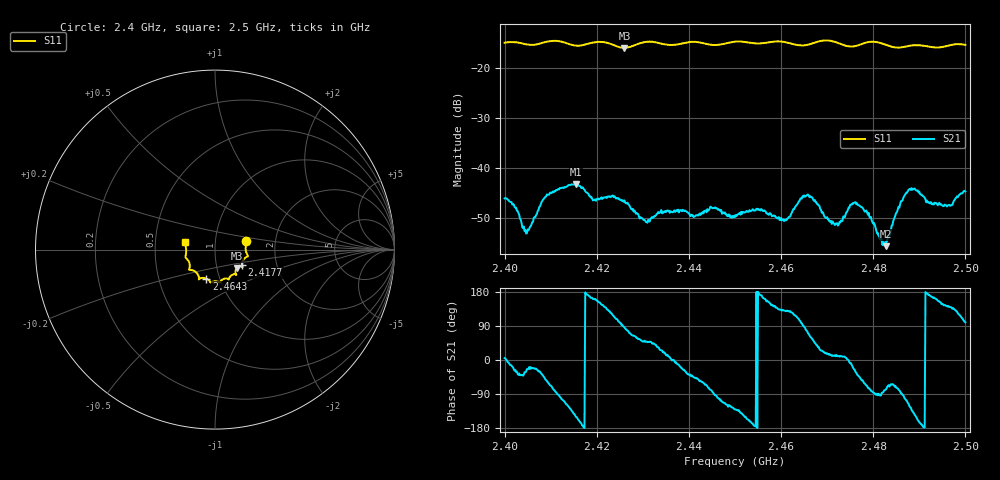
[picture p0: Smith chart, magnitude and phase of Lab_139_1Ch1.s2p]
# Hz S RI R 50
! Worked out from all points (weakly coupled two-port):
!   601 points, 2.4 GHz to 2.5 GHz, reference 50 ohm
!   highest |S21| = -43.23 dB at 2.4155 GHz (marker M1); lowest = -55.7 dB at 2.4827 GHz (marker M2)
!   lowest |S11| = -16.0 dB at 2.426 GHz (marker M3), VSWR 1.38, Z = 62.2 - j13.2 ohm
!   |S11| at or under -10 dB: start of sweep to end of sweep
!   S12 and S22 are empty: the file has one direction only
!   S11 on the Smith chart (normalised r, x): 2.4 GHz: 1.41, +0.14; 2.4177 GHz: 1.33, -0.23; 2.4643 GHz: 0.86, -0.29; 2.5 GHz: 0.71, +0.06
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2.4e9  0.1729 0.048  0.00493 0.00043  0 0  0 0
2.404833e9  0.1714 0.0175  0.00202 -0.00091  0 0  0 0
2.408833e9  0.1798 -0.0285  0.00322 -0.00399  0 0  0 0
2.4155e9  0.1567 -0.0594  -0.006 -0.0034  0 0  0 0
2.416667e9  0.1517 -0.0731  -0.00613 -0.0013  0 0  0 0
2.417667e9  0.1506 -0.0846  -0.0057 0.000452  0 0  0 0
2.426e9  0.1209 -0.1038  0.000293 0.00472  0 0  0 0
2.4305e9  0.1176 -0.1392  0.002 0.00221  0 0  0 0
2.433333e9  0.1141 -0.1374  0.003 0.00201  0 0  0 0
2.445167e9  0.0551 -0.1611  0.000319 -0.00393  0 0  0 0
2.45e9  0.0277 -0.1818  -0.0021 -0.00246  0 0  0 0
2.455167e9  0.00114 -0.1764  -0.00379 0.000274  0 0  0 0
2.460667e9  -0.027 -0.1806  -0.00191 0.00223  0 0  0 0
2.464333e9  -0.049 -0.161  -0.000696 0.00493  0 0  0 0
2.466667e9  -0.0761 -0.1583  0.00275 0.0043  0 0  0 0
2.472e9  -0.0891 -0.1572  0.00268 0.000629  0 0  0 0
2.4765e9  -0.1213 -0.1157  0.00346 -0.00275  0 0  0 0
2.482667e9  -0.1407 -0.0977  0.000336 -0.00161  0 0  0 0
2.483333e9  -0.1403 -0.0906  0.000835 -0.0019  0 0  0 0
2.487833e9  -0.1596 -0.0489  -0.00317 -0.00523  0 0  0 0
2.4955e9  -0.1635 0.0159  -0.00351 0.00247  0 0  0 0
2.5e9  -0.1648 0.0438  -0.000943 0.00573  0 0  0 0
